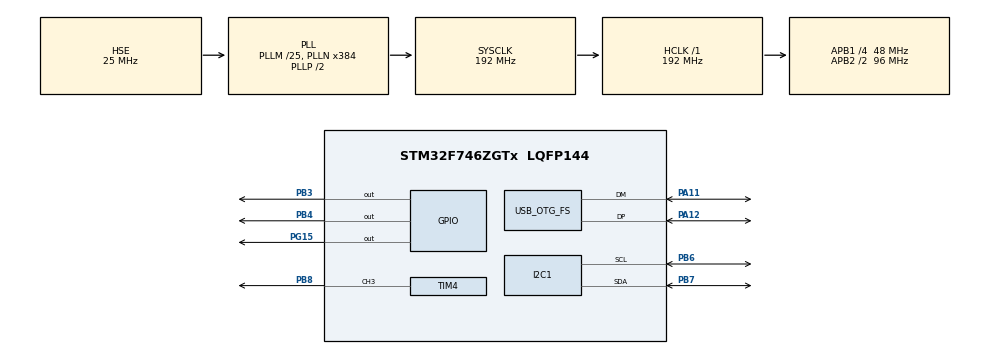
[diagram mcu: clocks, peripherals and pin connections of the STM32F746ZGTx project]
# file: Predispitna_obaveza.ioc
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I2C1.Timing=0x20303E5D
Mcu.Family=STM32F7
Mcu.Name=STM32F746ZGTx
Mcu.Package=LQFP144
NVIC.OTG_FS_IRQn=true\:0\:0\:false\:false\:true\:false\:true
NVIC.PriorityGroup=NVIC_PRIORITYGROUP_4
PA11.Mode=Device_Only
PA11.Signal=USB_OTG_FS_DM
PA12.Mode=Device_Only
PA12.Signal=USB_OTG_FS_DP
PB3.Signal=GPIO_Output
PB4.Signal=GPIO_Output
PB6.Mode=I2C
PB6.Signal=I2C1_SCL
PB7.Mode=I2C
PB7.Signal=I2C1_SDA
PB8.Signal=S_TIM4_CH3
PG15.Signal=GPIO_Output
PH0/OSC_IN.Mode=HSE-External-Oscillator
PH0/OSC_IN.Signal=RCC_OSC_IN
PH1/OSC_OUT.Mode=HSE-External-Oscillator
PH1/OSC_OUT.Signal=RCC_OSC_OUT
ProjectManager.HeapSize=0x200
ProjectManager.StackSize=0x400
ProjectManager.TargetToolchain=STM32CubeIDE
RCC.AHBFreq_Value=192000000
RCC.APB1CLKDivider=RCC_HCLK_DIV4
RCC.APB1Freq_Value=48000000
RCC.APB1TimFreq_Value=96000000
RCC.APB2CLKDivider=RCC_HCLK_DIV2
RCC.APB2Freq_Value=96000000
RCC.APB2TimFreq_Value=192000000
RCC.CortexFreq_Value=192000000
RCC.HCLKFreq_Value=192000000
RCC.HSE_VALUE=25000000
RCC.HSI_VALUE=16000000
RCC.LSE_VALUE=32768
RCC.PLLM=25
RCC.PLLN=384
RCC.PLLQ=8
RCC.SYSCLKFreq_VALUE=192000000
RCC.SYSCLKSource=RCC_SYSCLKSOURCE_PLLCLK
RCC.USBFreq_Value=48000000
RCC.VCOOutputFreq_Value=384000000
SH.S_TIM4_CH3.0=TIM4_CH3,PWM Generation3 CH3
TIM4.Channel-PWM\ Generation3\ CH3=TIM_CHANNEL_3
TIM4.Period=9600
TIM4.Prescaler=25
USB_DEVICE.CLASS_NAME_FS=CDC
USB_DEVICE.VirtualMode-CDC_FS=Cdc
USB_DEVICE.VirtualModeFS=Cdc_FS
USB_OTG_FS.VirtualMode=Device_Only
VP_TIM4_VS_ClockSourceINT.Mode=Internal
VP_USB_DEVICE_VS_USB_DEVICE_CDC_FS.Mode=CDC_FS
board=custom

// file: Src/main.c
/* USER CODE BEGIN Header */
/**
  ******************************************************************************
  * @file           : main.c
  * @brief          : Main program body
  ******************************************************************************
Zadatak 3:

Na ekranu napraviti dirke sa notama sintisajzera... Do, re, mi... kada korisnik klikne na dirke,
potrebno je da buzzer proizvodi odgovarajuće frekvencije tih muzičkih nota. Svaka od nota svira
samo dok je dirka pritisnuta.
  *
  ******************************************************************************
  */
/* USER CODE END Header */

#include "main.h"
#include "usb_device.h"

/* USER CODE BEGIN Includes */
#include "usbd_cdc_if.h"
#include "SSD1963.h"
#include "STMPE610.h"
#include "GUI.h"
#include "LCDConf.h"

#include <stdint.h>
#include <stdio.h>
/* USER CODE END Includes */

I2C_HandleTypeDef hi2c1;

TIM_HandleTypeDef htim4;

/* USER CODE BEGIN PV */
extern volatile GUI_TIMER_TIME OS_TimeMS;
uint16_t X_koordinata = 0;
uint16_t Y_koordinata = 0;
uint16_t keypressed = 0;
uint8_t prethodno_prisutan_dodir = 0;

GUI_MEMDEV_Handle hMem;
/* USER CODE END PV */

void SystemClock_Config(void);
static void MX_GPIO_Init(void);
static void MX_I2C1_Init(void);
static void MX_TIM4_Init(void);

/* USER CODE BEGIN 0 */

void set_buzzer(uint16_t frekvencija, uint8_t faktor_ispune){
	__HAL_TIM_SetAutoreload(&htim4, 3840000/frekvencija); //set frequency
	__HAL_TIM_SetCompare(&htim4, TIM_CHANNEL_3, faktor_ispune); //set volume
}

void HAL_SYSTICK_Callback(void)
{
	OS_TimeMS++;
}

void DrawNoteText(int x, int y, int width, int height, const char *note) {
    int textX = x + width / 2 - 10 + 3; // Centriranje teksta na sredinu bele tipke
    int textY = y + height - 30; // Pomeranje teksta prema dnu bele tipke
    GUI_SetBkColor(GUI_WHITE);
    GUI_SetColor(GUI_BLACK);
    GUI_SetFont(&GUI_Font16B_ASCII); // Podešavanje veličine fonta po potrebi
    GUI_DispStringAt(note, textX, textY);
}

void DrawWhiteKey(int x, int y, int width, int height) {
    // Crtanje belod dela tipke
    //GUI_SetColor(GUI_WHITE);
    //GUI_FillRect(x, y, x + width, y + height);

    // Crtanje okvira belih tipki
    GUI_SetColor(GUI_BLACK);
    GUI_DrawRect(x, y, x + width, y + height);
}

void DrawBlackKey(float x, int y, int width, int height) {
    GUI_SetColor(GUI_BLACK);
    GUI_FillRect(x, y, x + width, y + height);
}

void DrawPianoKeys() {

    GUI_Init();
    GUI_SetBkColor(GUI_WHITE);
    GUI_Clear();

    GUI_SetFont(&GUI_Font32_1);
    GUI_SetColor(GUI_BLACK);
    GUI_SetBkColor(GUI_WHITE);

    // Definirajte širinu i visinu tipki klavira
    int keyWidth = 33;
    int keyHeight = 150;

    // Pomoćne promenljive za crtanje tipki
    float x = 2;
    int y = 55;

    //naziv tipki
    const char* noteNames[] = {"C4", "D4", "E4", "F4", "G4", "A4", "B4",
                               "C5", "D5", "E5", "F5", "G5", "A5", "B5"};

    // Crtanje tipki redom C,D,E,F...
    for (int i = 0; i < 14; i ++) {
    	 // Bela tipka i tekst
    	    DrawWhiteKey(x, y, keyWidth, keyHeight);
    	    DrawNoteText(x, y, keyWidth, keyHeight, noteNames[i]);

            // Dodavanje crnih tipki između određenih belih tipki
            if (i == 0 || i == 1 || i == 3 || i == 4 || i == 5 || i == 7 || i == 8 || i == 10 || i == 11 || i == 12) {
                DrawBlackKey(x + keyWidth - 9, y, 19, keyHeight / 2); //-9 kako bi presla crna tipka preko prve bele tipke
            }

    	    // Povecanje x za širinu bele tipke
    	    x += keyWidth + 1; // +1 za crnu liniju
    }

    // Prikaz rezultata
    GUI_Exec();
}

// Funkcija koja se poziva kada se detektuje dodir
void process_touch() {
    STMPE610_read_xyz();
    GUI_TOUCH_Exec();
    keypressed = GUI_GetKey();

    X_koordinata = STMPE610_GetX_TOUCH();
    Y_koordinata = STMPE610_GetY_TOUCH();

    // Provera da li je dodir unutar određenih koordinata
    if (X_koordinata > 2 && X_koordinata < 35 && Y_koordinata > 55 && Y_koordinata < 205) {
        set_buzzer(261.63, 80); // Postavljanje frekvencije i jačine zvuka za prvu koordinatu
        prethodno_prisutan_dodir = 1; //promenljiva koja nam omogucava da se cuje zvuk samo kada je pritisnuta tipka
    }
    else if (X_koordinata > 26 && X_koordinata < 45 && Y_koordinata > 55 && Y_koordinata < 130) {
        set_buzzer(277.18, 80); // Postavljanje frekvencije i jačine zvuka za drugu koordinatu
        prethodno_prisutan_dodir = 1; //promenljiva koja nam omogucava da se cuje zvuk samo kada je pritisnuta tipka
    }
    else if (X_koordinata > 35 && X_koordinata < 68 && Y_koordinata > 55 && Y_koordinata < 205) {
        set_buzzer(293.66, 80); // Postavljanje frekvencije i jačine zvuka za drugu koordinatu
        prethodno_prisutan_dodir = 1; //promenljiva koja nam omogucava da se cuje zvuk samo kada je pritisnuta tipka
    }
    else if (X_koordinata > 59 && X_koordinata < 78 && Y_koordinata > 55 && Y_koordinata < 130) {
        set_buzzer(311.13, 80); // Postavljanje frekvencije i jačine zvuka za drugu koordinatu
        prethodno_prisutan_dodir = 1; //promenljiva koja nam omogucava da se cuje zvuk samo kada je pritisnuta tipka
    }
    else if(X_koordinata > 68 && X_koordinata < 101 && Y_koordinata > 55 && Y_koordinata < 205){
    	set_buzzer(329.63, 80); // Postavljanje frekvencije i jačine zvuka za prvu koordinatu
    	        prethodno_prisutan_dodir = 1; //promenljiva koja nam omogucava da se cuje zvuk samo kada je pritisnuta tipka
    }
    else if(X_koordinata > 101 && X_koordinata < 134 && Y_koordinata > 55 && Y_koordinata < 205){
    	set_buzzer(349.23, 80); // Postavljanje frekvencije i jačine zvuka za prvu koordinatu
    	        prethodno_prisutan_dodir = 1; //promenljiva koja nam omogucava da se cuje zvuk samo kada je pritisnuta tipka
     }
    else if (X_koordinata > 125 && X_koordinata < 144 && Y_koordinata > 55 && Y_koordinata < 130) {
        set_buzzer(369.99, 80); // Postavljanje frekvencije i jačine zvuka za drugu koordinatu
        prethodno_prisutan_dodir = 1; //promenljiva koja nam omogucava da se cuje zvuk samo kada je pritisnuta tipka
    }
    else if (X_koordinata > 158 && X_koordinata < 177 && Y_koordinata > 55 && Y_koordinata < 130) {
        set_buzzer(415.30, 80); // Postavljanje frekvencije i jačine zvuka za drugu koordinatu
        prethodno_prisutan_dodir = 1; //promenljiva koja nam omogucava da se cuje zvuk samo kada je pritisnuta tipka
    }
    else if(X_koordinata > 134 && X_koordinata < 167 && Y_koordinata > 55 && Y_koordinata < 205){
        set_buzzer(392, 80); // Postavljanje frekvencije i jačine zvuka za prvu koordinatu
        prethodno_prisutan_dodir = 1; //promenljiva koja nam omogucava da se cuje zvuk samo kada je pritisnuta tipka
        }
    else if (X_koordinata > 191 && X_koordinata < 210 && Y_koordinata > 55 && Y_koordinata < 130) {
        set_buzzer(466.16, 80); // Postavljanje frekvencije i jačine zvuka za drugu koordinatu
        prethodno_prisutan_dodir = 1; //promenljiva koja nam omogucava da se cuje zvuk samo kada je pritisnuta tipka
    }
    else if(X_koordinata > 167 && X_koordinata < 200 && Y_koordinata > 55 && Y_koordinata < 205){
        set_buzzer(440, 80); // Postavljanje frekvencije i jačine zvuka za prvu koordinatu
        prethodno_prisutan_dodir = 1; //promenljiva koja nam omogucava da se cuje zvuk samo kada je pritisnuta tipka
        }
    else if(X_koordinata > 200 && X_koordinata < 233 && Y_koordinata > 55 && Y_koordinata < 205){
        set_buzzer(493.88, 80); // Postavljanje frekvencije i jačine zvuka za prvu koordinatu
        prethodno_prisutan_dodir = 1; //promenljiva koja nam omogucava da se cuje zvuk samo kada je pritisnuta tipka
        }
    else if (X_koordinata > 257 && X_koordinata < 276 && Y_koordinata > 55 && Y_koordinata < 130) {
        set_buzzer(554.37, 80); // Postavljanje frekvencije i jačine zvuka za drugu koordinatu
        prethodno_prisutan_dodir = 1; //promenljiva koja nam omogucava da se cuje zvuk samo kada je pritisnuta tipka
    }
    else if(X_koordinata > 233 && X_koordinata < 266 && Y_koordinata > 55 && Y_koordinata < 205){
        set_buzzer(523.25, 80); // Postavljanje frekvencije i jačine zvuka za prvu koordinatu
        prethodno_prisutan_dodir = 1; //promenljiva koja nam omogucava da se cuje zvuk samo kada je pritisnuta tipka
        }
    else if (X_koordinata > 290 && X_koordinata < 309 && Y_koordinata > 55 && Y_koordinata < 130) {
        set_buzzer(622.25, 80); // Postavljanje frekvencije i jačine zvuka za drugu koordinatu
        prethodno_prisutan_dodir = 1;
    }
    else if(X_koordinata > 266 && X_koordinata < 299 && Y_koordinata > 55 && Y_koordinata < 205){
        set_buzzer(587.33, 80); // Postavljanje frekvencije i jačine zvuka za prvu koordinatu
        prethodno_prisutan_dodir = 1; //promenljiva koja nam omogucava da se cuje zvuk samo kada je pritisnuta tipka
        }
    else if(X_koordinata > 299 && X_koordinata < 332 && Y_koordinata > 55 && Y_koordinata < 205){
        set_buzzer(659.26, 80); // Postavljanje frekvencije i jačine zvuka za prvu koordinatu
        prethodno_prisutan_dodir = 1; //promenljiva koja nam omogucava da se cuje zvuk samo kada je pritisnuta tipka
        }
    else if(X_koordinata > 332 && X_koordinata < 365 && Y_koordinata > 55 && Y_koordinata < 205){
        set_buzzer(698.49, 80); // Postavljanje frekvencije i jačine zvuka za prvu koordinatu
        prethodno_prisutan_dodir = 1; //promenljiva koja nam omogucava da se cuje zvuk samo kada je pritisnuta tipka
        }
    else if (X_koordinata > 389 && X_koordinata < 408 && Y_koordinata > 55 && Y_koordinata < 130) {
        set_buzzer(739.99, 80); // Postavljanje frekvencije i jačine zvuka za drugu koordinatu
        prethodno_prisutan_dodir = 1;
    }
    else if(X_koordinata > 365 && X_koordinata < 398 && Y_koordinata > 55 && Y_koordinata < 205){
        set_buzzer(783.99, 80); // Postavljanje frekvencije i jačine zvuka za prvu koordinatu
        prethodno_prisutan_dodir = 1; //promenljiva koja nam omogucava da se cuje zvuk samo kada je pritisnuta tipka
        }
    else if (X_koordinata > 422 && X_koordinata < 441 && Y_koordinata > 55 && Y_koordinata < 130) {
        set_buzzer(830.61, 80); // Postavljanje frekvencije i jačine zvuka za drugu koordinatu
        prethodno_prisutan_dodir = 1;
    }
    else if(X_koordinata > 398 && X_koordinata < 431 && Y_koordinata > 55 && Y_koordinata < 205){
        set_buzzer(880, 80); // Postavljanje frekvencije i jačine zvuka za prvu koordinatu
        prethodno_prisutan_dodir = 1; //promenljiva koja nam omogucava da se cuje zvuk samo kada je pritisnuta tipka
        }
    else if (X_koordinata > 455 && X_koordinata < 474 && Y_koordinata > 55 && Y_koordinata < 130) {
        set_buzzer(932.33, 80); // Postavljanje frekvencije i jačine zvuka za drugu koordinatu
        prethodno_prisutan_dodir = 1;
    }
    else if(X_koordinata > 431 && X_koordinata < 464 && Y_koordinata > 55 && Y_koordinata < 205){
        set_buzzer(987.77, 80); // Postavljanje frekvencije i jačine zvuka za prvu koordinatu
        prethodno_prisutan_dodir = 1; //promenljiva koja nam omogucava da se cuje zvuk samo kada je pritisnuta tipka
        }
    else {
        // Ako dodir nije detektovan unutar određenih koordinata, iskljucuje se zvuk
        if (prethodno_prisutan_dodir == 1) {
            set_buzzer(0, 0); // Isključivanje zvučnika
            prethodno_prisutan_dodir = 0;
        }
    }

    // Malo kašnjenje kako bi se izbeglo često izvršavanje ove funkcije
    GUI_Delay(10);
}
/* USER CODE END 0 */

int main(void)
{

  /* MCU Configuration--------------------------------------------------------*/

  /* Reset of all peripherals, Initializes the Flash interface and the Systick. */
  HAL_Init();

  /* Configure the system clock */
  SystemClock_Config();

  /* Initialize all configured peripherals */
  MX_GPIO_Init();
  MX_I2C1_Init();
  MX_TIM4_Init();
  MX_USB_DEVICE_Init();
  Init_LCD_GPIO();
  Init_TOUCH_GPIO(hi2c1);

  STMPE610_Init();
  //WM_SetCreateFlags(WM_CF_MEMDEV); // eliminise flickering

  GUI_Init();
  /* USER CODE BEGIN 2 */
  HAL_TIM_PWM_Start(&htim4, TIM_CHANNEL_3);
  //set_buzzer(400,80);//provera da li buzzer radi

  //provera da li ekran radi
  /*
  GUI_SetBkColor(GUI_YELLOW);
  GUI_Clear();
  GUI_SetColor(GUI_BLACK);
  GUI_SetFont(&GUI_Font32_1);
  GUI_DispString("Hello");*/

  //iscrtavanje klavira
  DrawPianoKeys();

  /* USER CODE END 2 */

  /* Infinite loop */
  while (1)
  {

    /* USER CODE BEGIN 3 */
	  //provera da li je neka tipka pritisnuta
	  process_touch();
  }
  /* USER CODE END 3 */
}

void SystemClock_Config(void)
{
  RCC_OscInitTypeDef RCC_OscInitStruct = {0};
  RCC_ClkInitTypeDef RCC_ClkInitStruct = {0};
  RCC_PeriphCLKInitTypeDef PeriphClkInitStruct = {0};

  /** Configure the main internal regulator output voltage
  */
  __HAL_RCC_PWR_CLK_ENABLE();
  __HAL_PWR_VOLTAGESCALING_CONFIG(PWR_REGULATOR_VOLTAGE_SCALE1);
  /** Initializes the CPU, AHB and APB busses clocks
  */
  RCC_OscInitStruct.OscillatorType = RCC_OSCILLATORTYPE_HSE;
  RCC_OscInitStruct.HSEState = RCC_HSE_ON;
  RCC_OscInitStruct.PLL.PLLState = RCC_PLL_ON;
  RCC_OscInitStruct.PLL.PLLSource = RCC_PLLSOURCE_HSE;
  RCC_OscInitStruct.PLL.PLLM = 25;
  RCC_OscInitStruct.PLL.PLLN = 384;
  RCC_OscInitStruct.PLL.PLLP = RCC_PLLP_DIV2;
  RCC_OscInitStruct.PLL.PLLQ = 8;
  if (HAL_RCC_OscConfig(&RCC_OscInitStruct) != HAL_OK)
  {
    Error_Handler();
  }
  /** Activate the Over-Drive mode
  */
  if (HAL_PWREx_EnableOverDrive() != HAL_OK)
  {
    Error_Handler();
  }
  /** Initializes the CPU, AHB and APB busses clocks
  */
  RCC_ClkInitStruct.ClockType = RCC_CLOCKTYPE_HCLK|RCC_CLOCKTYPE_SYSCLK
                              |RCC_CLOCKTYPE_PCLK1|RCC_CLOCKTYPE_PCLK2;
  RCC_ClkInitStruct.SYSCLKSource = RCC_SYSCLKSOURCE_PLLCLK;
  RCC_ClkInitStruct.AHBCLKDivider = RCC_SYSCLK_DIV1;
  RCC_ClkInitStruct.APB1CLKDivider = RCC_HCLK_DIV4;
  RCC_ClkInitStruct.APB2CLKDivider = RCC_HCLK_DIV2;

  if (HAL_RCC_ClockConfig(&RCC_ClkInitStruct, FLASH_LATENCY_6) != HAL_OK)
  {
    Error_Handler();
  }
  PeriphClkInitStruct.PeriphClockSelection = RCC_PERIPHCLK_I2C1|RCC_PERIPHCLK_CLK48;
  PeriphClkInitStruct.I2c1ClockSelection = RCC_I2C1CLKSOURCE_PCLK1;
  PeriphClkInitStruct.Clk48ClockSelection = RCC_CLK48SOURCE_PLL;
  if (HAL_RCCEx_PeriphCLKConfig(&PeriphClkInitStruct) != HAL_OK)
  {
    Error_Handler();
  }
}

static void MX_I2C1_Init(void)
{

  hi2c1.Instance = I2C1;
  hi2c1.Init.Timing = 0x20303E5D;
  hi2c1.Init.OwnAddress1 = 0;
  hi2c1.Init.AddressingMode = I2C_ADDRESSINGMODE_7BIT;
  hi2c1.Init.DualAddressMode = I2C_DUALADDRESS_DISABLE;
  hi2c1.Init.OwnAddress2 = 0;
  hi2c1.Init.OwnAddress2Masks = I2C_OA2_NOMASK;
  hi2c1.Init.GeneralCallMode = I2C_GENERALCALL_DISABLE;
  hi2c1.Init.NoStretchMode = I2C_NOSTRETCH_DISABLE;
  if (HAL_I2C_Init(&hi2c1) != HAL_OK)
  {
    Error_Handler();
  }
  /** Configure Analogue filter
  */
  if (HAL_I2CEx_ConfigAnalogFilter(&hi2c1, I2C_ANALOGFILTER_ENABLE) != HAL_OK)
  {
    Error_Handler();
  }
  /** Configure Digital filter
  */
  if (HAL_I2CEx_ConfigDigitalFilter(&hi2c1, 0) != HAL_OK)
  {
    Error_Handler();
  }

}

static void MX_TIM4_Init(void)
{

  TIM_ClockConfigTypeDef sClockSourceConfig = {0};
  TIM_MasterConfigTypeDef sMasterConfig = {0};
  TIM_OC_InitTypeDef sConfigOC = {0};

  htim4.Instance = TIM4;
  htim4.Init.Prescaler = 25;
  htim4.Init.CounterMode = TIM_COUNTERMODE_UP;
  htim4.Init.Period = 9600;
  htim4.Init.ClockDivision = TIM_CLOCKDIVISION_DIV1;
  htim4.Init.AutoReloadPreload = TIM_AUTORELOAD_PRELOAD_DISABLE;
  if (HAL_TIM_Base_Init(&htim4) != HAL_OK)
  {
    Error_Handler();
  }
  sClockSourceConfig.ClockSource = TIM_CLOCKSOURCE_INTERNAL;
  if (HAL_TIM_ConfigClockSource(&htim4, &sClockSourceConfig) != HAL_OK)
  {
    Error_Handler();
  }
  if (HAL_TIM_PWM_Init(&htim4) != HAL_OK)
  {
    Error_Handler();
  }
  sMasterConfig.MasterOutputTrigger = TIM_TRGO_RESET;
  sMasterConfig.MasterSlaveMode = TIM_MASTERSLAVEMODE_DISABLE;
  if (HAL_TIMEx_MasterConfigSynchronization(&htim4, &sMasterConfig) != HAL_OK)
  {
    Error_Handler();
  }
  sConfigOC.OCMode = TIM_OCMODE_PWM1;
  sConfigOC.Pulse = 0;
  sConfigOC.OCPolarity = TIM_OCPOLARITY_HIGH;
  sConfigOC.OCFastMode = TIM_OCFAST_DISABLE;
  if (HAL_TIM_PWM_ConfigChannel(&htim4, &sConfigOC, TIM_CHANNEL_3) != HAL_OK)
  {
    Error_Handler();
  }
  HAL_TIM_MspPostInit(&htim4);

}

static void MX_GPIO_Init(void)
{
  GPIO_InitTypeDef GPIO_InitStruct = {0};

  /* GPIO Ports Clock Enable */
  __HAL_RCC_GPIOH_CLK_ENABLE();
  __HAL_RCC_GPIOA_CLK_ENABLE();
  __HAL_RCC_GPIOG_CLK_ENABLE();
  __HAL_RCC_GPIOB_CLK_ENABLE();

  /*Configure GPIO pin Output Level */
  HAL_GPIO_WritePin(GPIOG, GPIO_PIN_15, GPIO_PIN_RESET);

  /*Configure GPIO pin Output Level */
  HAL_GPIO_WritePin(GPIOB, GPIO_PIN_3|GPIO_PIN_4, GPIO_PIN_RESET);

  /*Configure GPIO pin : PG15 */
  GPIO_InitStruct.Pin = GPIO_PIN_15;
  GPIO_InitStruct.Mode = GPIO_MODE_OUTPUT_PP;
  GPIO_InitStruct.Pull = GPIO_NOPULL;
  GPIO_InitStruct.Speed = GPIO_SPEED_FREQ_LOW;
  HAL_GPIO_Init(GPIOG, &GPIO_InitStruct);

  /*Configure GPIO pins : PB3 PB4 */
  GPIO_InitStruct.Pin = GPIO_PIN_3|GPIO_PIN_4;
  GPIO_InitStruct.Mode = GPIO_MODE_OUTPUT_PP;
  GPIO_InitStruct.Pull = GPIO_NOPULL;
  GPIO_InitStruct.Speed = GPIO_SPEED_FREQ_LOW;
  HAL_GPIO_Init(GPIOB, &GPIO_InitStruct);

}

void Error_Handler(void)
{
}

/************************ (C) COPYRIGHT STMicroelectronics *****END OF FILE****/
